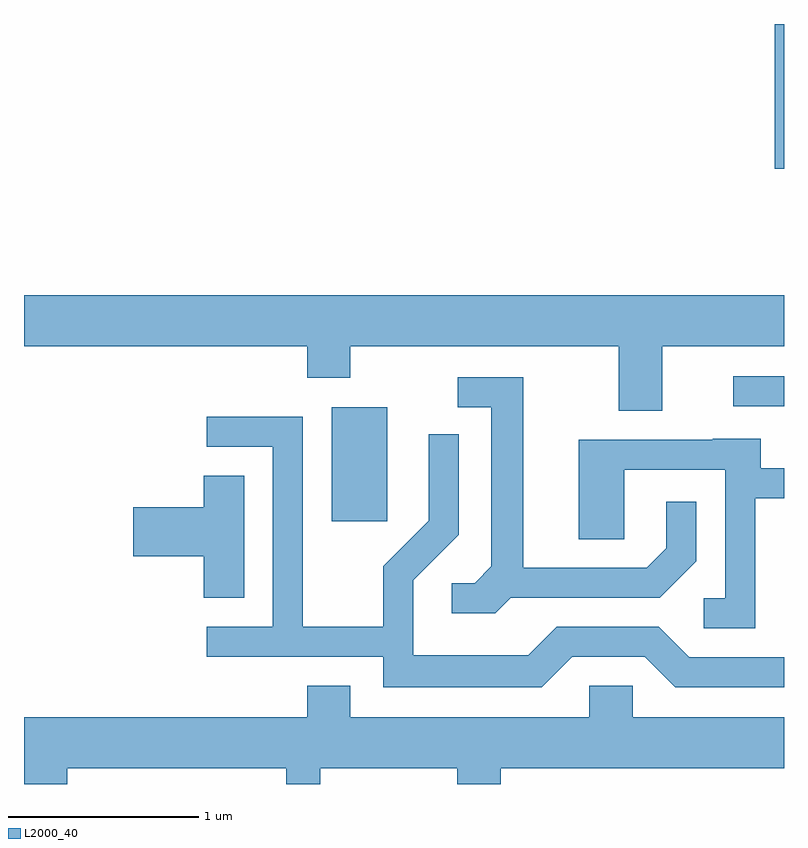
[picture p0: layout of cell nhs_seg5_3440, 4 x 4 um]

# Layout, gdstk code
import gdstk
lib = gdstk.Library(unit=1e-6, precision=1e-09)
def R(c, l, rs):  # rectangles x0, y0, x1, y1
    for r in rs: c.add(gdstk.rectangle(r[:2], r[2:], *l))
def P(c, l, *ps):  # polygons
    for p in ps: c.add(gdstk.Polygon(p, *l))
L2000_40 = (2000, 40)

nhs_seg5_3440 = lib.new_cell('nhs_seg5_3440')
R(nhs_seg5_3440, L2000_40, [(289.231,1431.456,289.524,1432.054), (291.343,1432.061,291.611,1432.219), (291.561,1433.311,291.611,1434.072)])
P(nhs_seg5_3440, L2000_40, [(290.969,1432.376),(291.611,1432.376),(291.611,1432.644),(287.611,1432.644),(287.611,1432.376),(289.101,1432.376),(289.101,1432.211),(289.329,1432.211),(289.329,1432.376),(290.741,1432.376),(290.741,1432.036),(290.969,1432.036)],
  [(290.172,1431.051),(290.957,1431.051),(291.149,1431.244),(291.149,1431.558),(290.991,1431.558),(290.991,1431.312),(290.889,1431.209),(290.239,1431.209),(290.239,1432.214),(289.893,1432.214),(289.893,1432.056),(290.071,1432.056),(290.071,1431.217),(289.984,1431.129),(289.863,1431.129),(289.863,1430.971),(290.092,1430.971)],
  [(290.497,1430.741),(290.879,1430.741),(291.039,1430.581),(291.611,1430.581),(291.611,1430.739),(291.112,1430.739),(290.952,1430.899),(290.414,1430.899),(290.264,1430.749),(289.659,1430.749),(289.659,1431.144),(289.899,1431.384),(289.899,1431.913),(289.741,1431.913),(289.741,1431.457),(289.501,1431.217),(289.501,1430.899),(289.079,1430.899),(289.079,1432.004),(288.573,1432.004),(288.573,1431.846),(288.921,1431.846),(288.921,1430.899),(288.573,1430.899),(288.573,1430.741),(289.501,1430.741),(289.501,1430.581),(290.337,1430.581)],
  [(291.459,1431.576),(291.611,1431.576),(291.611,1431.734),(291.489,1431.734),(291.489,1431.889),(291.235,1431.889),(291.235,1431.884),(290.531,1431.884),(290.531,1431.361),(290.769,1431.361),(290.769,1431.726),(291.301,1431.726),(291.301,1431.049),(291.188,1431.049),(291.188,1430.891),(291.459,1430.891)],
  [(288.769,1431.694),(288.556,1431.694),(288.556,1431.529),(288.186,1431.529),(288.186,1431.271),(288.556,1431.271),(288.556,1431.051),(288.769,1431.051)],
  [(287.839,1430.156),(288.991,1430.156),(288.991,1430.072),(289.169,1430.072),(289.169,1430.156),(289.891,1430.156),(289.891,1430.072),(290.119,1430.072),(290.119,1430.156),(291.611,1430.156),(291.611,1430.424),(290.814,1430.424),(290.814,1430.589),(290.586,1430.589),(290.586,1430.424),(289.329,1430.424),(289.329,1430.589),(289.101,1430.589),(289.101,1430.424),(287.611,1430.424),(287.611,1430.072),(287.839,1430.072)])

lib.write_gds('nhs_seg5_3440.gds')
